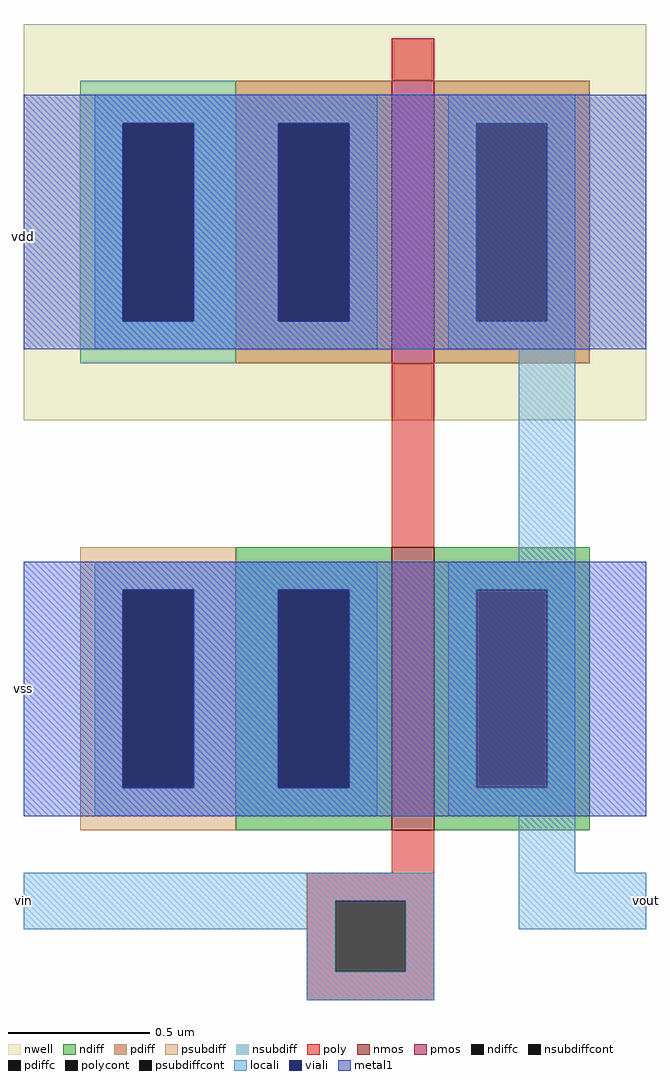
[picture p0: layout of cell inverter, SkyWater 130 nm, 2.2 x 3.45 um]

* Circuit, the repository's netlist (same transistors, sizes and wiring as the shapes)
* SPICE3 file created from inverter.ext - technology: sky130A

.subckt inverter vin vout vdd vss
X0 vout vin vss vss sky130_fd_pr__nfet_01v8 ad=5.5e+11p pd=3.1e+06u as=5.5e+11p ps=3.1e+06u w=1e+06u l=150000u
X1 vout vin vdd vdd sky130_fd_pr__pfet_01v8 ad=5.5e+11p pd=3.1e+06u as=5.5e+11p ps=3.1e+06u w=1e+06u l=150000u
.ends

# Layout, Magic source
magic
tech sky130A
<< nwell >>
rect -130 145 90 285
<< nmos >>
rect 0 0 15 100
<< pmos >>
rect 0 165 15 265
<< ndiff >>
rect -55 85 0 100
rect -55 15 -40 85
rect -15 15 0 85
rect -55 0 0 15
rect 15 85 70 100
rect 15 15 30 85
rect 55 15 70 85
rect 15 0 70 15
<< pdiff >>
rect -55 250 0 265
rect -55 180 -40 250
rect -15 180 0 250
rect -55 165 0 180
rect 15 250 70 265
rect 15 180 30 250
rect 55 180 70 250
rect 15 165 70 180
<< ndiffc >>
rect -40 15 -15 85
rect 30 15 55 85
<< pdiffc >>
rect -40 180 -15 250
rect 30 180 55 250
<< psubdiff >>
rect -110 85 -55 100
rect -110 15 -95 85
rect -70 15 -55 85
rect -110 0 -55 15
<< nsubdiff >>
rect -110 250 -55 265
rect -110 180 -95 250
rect -70 180 -55 250
rect -110 165 -55 180
<< psubdiffcont >>
rect -95 15 -70 85
<< nsubdiffcont >>
rect -95 180 -70 250
<< poly >>
rect 0 265 15 280
rect 0 100 15 165
rect 0 -15 15 0
rect -30 -25 15 -15
rect -30 -50 -20 -25
rect 5 -50 15 -25
rect -30 -60 15 -50
<< polycont >>
rect -20 -50 5 -25
<< locali >>
rect -105 250 -5 260
rect -105 180 -95 250
rect -70 180 -40 250
rect -15 180 -5 250
rect -105 170 -5 180
rect 20 250 65 260
rect 20 180 30 250
rect 55 180 65 250
rect 20 170 65 180
rect 45 95 65 170
rect -105 85 -5 95
rect -105 15 -95 85
rect -70 15 -40 85
rect -15 15 -5 85
rect -105 5 -5 15
rect 20 85 65 95
rect 20 15 30 85
rect 55 15 65 85
rect 20 5 65 15
rect 45 -15 65 5
rect -130 -25 15 -15
rect -130 -35 -20 -25
rect -30 -50 -20 -35
rect 5 -50 15 -25
rect 45 -35 90 -15
rect -30 -60 15 -50
<< viali >>
rect -95 180 -70 250
rect -40 180 -15 250
rect -95 15 -70 85
rect -40 15 -15 85
<< metal1 >>
rect -130 250 90 260
rect -130 180 -95 250
rect -70 180 -40 250
rect -15 180 90 250
rect -130 170 90 180
rect -130 85 90 95
rect -130 15 -95 85
rect -70 15 -40 85
rect -15 15 90 85
rect -130 5 90 15
<< labels >>
rlabel locali -130 -25 -130 -25 7 vin
port 1 w
rlabel locali 90 -25 90 -25 3 vout
port 2 e
rlabel metal1 -130 210 -130 210 7 vdd
port 3 w
rlabel metal1 -130 50 -130 50 7 vss
port 4 w
<< end >>
